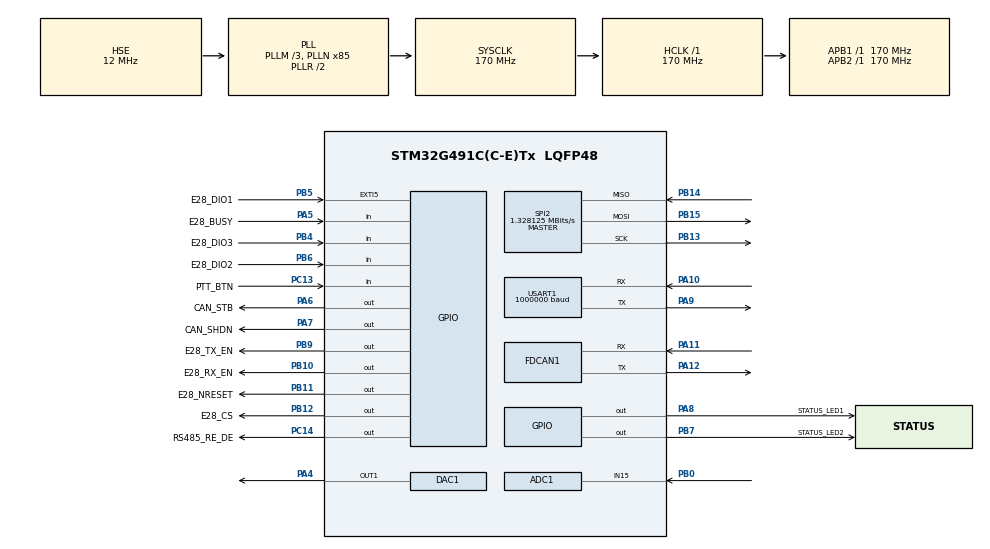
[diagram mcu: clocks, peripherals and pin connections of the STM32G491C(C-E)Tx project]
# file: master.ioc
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ADC1.Channel-2\#ChannelRegularConversion=ADC_CHANNEL_15
ADC1.ContinuousConvMode=DISABLE
ADC1.DMAContinuousRequests=ENABLE
ADC1.ExternalTrigConv=ADC_EXTERNALTRIG_T6_TRGO
ADC1.NbrOfConversionFlag=1
ADC1.OffsetNumber-2\#ChannelRegularConversion=ADC_OFFSET_NONE
ADC1.Overrun=ADC_OVR_DATA_OVERWRITTEN
ADC1.Rank-2\#ChannelRegularConversion=1
ADC1.SamplingTime-2\#ChannelRegularConversion=ADC_SAMPLETIME_247CYCLES_5
ADC1.master=1
DAC1.DAC_Trigger_OUT1-DAC_OUT1=DAC_TRIGGER_T6_TRGO
Dma.ADC1.0.Direction=DMA_PERIPH_TO_MEMORY
Dma.ADC1.0.EventEnable=DISABLE
Dma.ADC1.0.Instance=DMA1_Channel1
Dma.ADC1.0.MemDataAlignment=DMA_MDATAALIGN_HALFWORD
Dma.ADC1.0.MemInc=DMA_MINC_ENABLE
Dma.ADC1.0.Mode=DMA_CIRCULAR
Dma.ADC1.0.PeriphDataAlignment=DMA_PDATAALIGN_HALFWORD
Dma.ADC1.0.PeriphInc=DMA_PINC_DISABLE
Dma.ADC1.0.Polarity=HAL_DMAMUX_REQ_GEN_RISING
Dma.ADC1.0.Priority=DMA_PRIORITY_LOW
Dma.ADC1.0.RequestNumber=1
Dma.ADC1.0.SignalID=NONE
Dma.ADC1.0.SyncEnable=DISABLE
Dma.ADC1.0.SyncPolarity=HAL_DMAMUX_SYNC_NO_EVENT
Dma.ADC1.0.SyncRequestNumber=1
Dma.ADC1.0.SyncSignalID=NONE
Dma.DAC1_CH1.1.Direction=DMA_MEMORY_TO_PERIPH
Dma.DAC1_CH1.1.EventEnable=DISABLE
Dma.DAC1_CH1.1.Instance=DMA1_Channel2
Dma.DAC1_CH1.1.MemDataAlignment=DMA_MDATAALIGN_HALFWORD
Dma.DAC1_CH1.1.MemInc=DMA_MINC_ENABLE
Dma.DAC1_CH1.1.Mode=DMA_CIRCULAR
Dma.DAC1_CH1.1.PeriphDataAlignment=DMA_PDATAALIGN_WORD
Dma.DAC1_CH1.1.PeriphInc=DMA_PINC_DISABLE
Dma.DAC1_CH1.1.Polarity=HAL_DMAMUX_REQ_GEN_RISING
Dma.DAC1_CH1.1.Priority=DMA_PRIORITY_LOW
Dma.DAC1_CH1.1.RequestNumber=1
Dma.DAC1_CH1.1.SignalID=NONE
Dma.DAC1_CH1.1.SyncEnable=DISABLE
Dma.DAC1_CH1.1.SyncPolarity=HAL_DMAMUX_SYNC_NO_EVENT
Dma.DAC1_CH1.1.SyncRequestNumber=1
Dma.DAC1_CH1.1.SyncSignalID=NONE
Dma.Request0=ADC1
Dma.Request1=DAC1_CH1
Dma.Request2=USART1_RX
Dma.USART1_RX.2.Direction=DMA_PERIPH_TO_MEMORY
Dma.USART1_RX.2.EventEnable=DISABLE
Dma.USART1_RX.2.Instance=DMA1_Channel3
Dma.USART1_RX.2.MemDataAlignment=DMA_MDATAALIGN_BYTE
Dma.USART1_RX.2.MemInc=DMA_MINC_ENABLE
Dma.USART1_RX.2.Mode=DMA_CIRCULAR
Dma.USART1_RX.2.PeriphDataAlignment=DMA_PDATAALIGN_BYTE
Dma.USART1_RX.2.PeriphInc=DMA_PINC_DISABLE
Dma.USART1_RX.2.Polarity=HAL_DMAMUX_REQ_GEN_RISING
Dma.USART1_RX.2.Priority=DMA_PRIORITY_LOW
Dma.USART1_RX.2.RequestNumber=1
Dma.USART1_RX.2.SignalID=NONE
Dma.USART1_RX.2.SyncEnable=DISABLE
Dma.USART1_RX.2.SyncPolarity=HAL_DMAMUX_SYNC_NO_EVENT
Dma.USART1_RX.2.SyncRequestNumber=1
Dma.USART1_RX.2.SyncSignalID=NONE
FDCAN1.CalculateBaudRateNominal=999999
FDCAN1.CalculateTimeBitNominal=1000
FDCAN1.CalculateTimeQuantumNominal=58.82352941176471
FDCAN1.NominalPrescaler=10
FDCAN1.NominalSyncJumpWidth=3
FDCAN1.NominalTimeSeg1=13
FDCAN1.NominalTimeSeg2=3
FREERTOS.Tasks01=defaultTask,24,512,StartDefaultTask,Default,NULL,Dynamic,NULL,NULL;myTask02,8,512,StartTask02,Default,NULL,Dynamic,NULL,NULL
FREERTOS.configCHECK_FOR_STACK_OVERFLOW=2
FREERTOS.configTOTAL_HEAP_SIZE=32768
FREERTOS.configUSE_MALLOC_FAILED_HOOK=1
FREERTOS.configUSE_NEWLIB_REENTRANT=1
Mcu.Family=STM32G4
Mcu.Name=STM32G491C(C-E)Tx
Mcu.Package=LQFP48
NVIC.ADC1_2_IRQn=true\:5\:0\:false\:false\:true\:true\:true\:true\:true
NVIC.DMA1_Channel1_IRQn=true\:5\:0\:false\:false\:true\:true\:false\:true\:true
NVIC.DMA1_Channel2_IRQn=true\:5\:0\:false\:false\:true\:true\:false\:true\:true
NVIC.DMA1_Channel3_IRQn=true\:5\:0\:false\:false\:true\:true\:false\:true\:true
NVIC.EXTI9_5_IRQn=true\:5\:0\:true\:false\:true\:true\:true\:true\:true
NVIC.FDCAN1_IT0_IRQn=true\:5\:0\:false\:false\:true\:true\:true\:true\:true
NVIC.PriorityGroup=NVIC_PRIORITYGROUP_4
NVIC.TIM6_DAC_IRQn=true\:5\:0\:false\:false\:true\:true\:true\:true\:true
NVIC.TIM7_IRQn=true\:15\:0\:false\:false\:true\:false\:false\:true\:true
NVIC.TimeBase=TIM7_IRQn
NVIC.TimeBaseIP=TIM7
NVIC.USART1_IRQn=true\:5\:0\:false\:false\:true\:true\:true\:true\:true
PA10.Mode=Asynchronous
PA10.Signal=USART1_RX
PA11.Mode=FDCAN_Activate
PA11.Signal=FDCAN1_RX
PA12.Mode=FDCAN_Activate
PA12.Signal=FDCAN1_TX
PA13.Mode=Serial_Wire
PA13.Signal=SYS_JTMS-SWDIO
PA14.Mode=Serial_Wire
PA14.Signal=SYS_JTCK-SWCLK
PA4.Signal=COMP_DAC11_group
PA5.GPIO_Label=E28_BUSY
PA5.Signal=GPIO_Input
PA6.GPIO_Label=CAN_STB
PA6.Signal=GPIO_Output
PA7.GPIO_Label=CAN_SHDN
PA7.Signal=GPIO_Output
PA8.GPIO_Label=STATUS_LED1
PA8.Signal=GPIO_Output
PA9.Mode=Asynchronous
PA9.Signal=USART1_TX
PB0.Mode=IN15-Single-Ended
PB0.Signal=ADC1_IN15
PB10.GPIO_Label=E28_RX_EN
PB10.Signal=GPIO_Output
PB11.GPIO_Label=E28_NRESET
PB11.Signal=GPIO_Output
PB12.GPIO_Label=E28_CS
PB12.PinState=GPIO_PIN_SET
PB12.Signal=GPIO_Output
PB13.Mode=Full_Duplex_Master
PB13.Signal=SPI2_SCK
PB14.Mode=Full_Duplex_Master
PB14.Signal=SPI2_MISO
PB15.Mode=Full_Duplex_Master
PB15.Signal=SPI2_MOSI
PB4.GPIO_Label=E28_DIO3
PB4.Signal=GPIO_Input
PB5.GPIO_Label=E28_DIO1
PB5.GPIO_ModeDefaultEXTI=GPIO_MODE_IT_RISING
PB5.GPIO_PuPd=GPIO_PULLDOWN
PB5.Signal=GPXTI5
PB6.GPIO_Label=E28_DIO2
PB6.Signal=GPIO_Input
PB7.GPIO_Label=STATUS_LED2
PB7.Signal=GPIO_Output
PB9.GPIO_Label=E28_TX_EN
PB9.Signal=GPIO_Output
PC13.GPIO_Label=PTT_BTN
PC13.GPIO_PuPd=GPIO_PULLUP
PC13.Signal=GPIO_Input
PC14-OSC32_IN.GPIO_Label=RS485_RE_DE
PC14-OSC32_IN.Signal=GPIO_Output
PF0-OSC_IN.Mode=HSE-External-Oscillator
PF0-OSC_IN.Signal=RCC_OSC_IN
PF1-OSC_OUT.Mode=HSE-External-Oscillator
PF1-OSC_OUT.Signal=RCC_OSC_OUT
ProjectManager.HeapSize=0x200
ProjectManager.StackSize=0x400
ProjectManager.TargetToolchain=CMake
RCC.ADC12Freq_Value=170000000
RCC.ADC345Freq_Value=170000000
RCC.AHBFreq_Value=170000000
RCC.APB1Freq_Value=170000000
RCC.APB1TimFreq_Value=170000000
RCC.APB2Freq_Value=170000000
RCC.APB2TimFreq_Value=170000000
RCC.CortexFreq_Value=170000000
RCC.EXTERNAL_CLOCK_VALUE=12288000
RCC.EnbaleCSS=true
RCC.HCLKFreq_Value=170000000
RCC.HSE_VALUE=12000000
RCC.HSI48_VALUE=48000000
RCC.HSI_VALUE=16000000
RCC.LSE_VALUE=32768
RCC.PLLM=RCC_PLLM_DIV3
RCC.PLLN=85
RCC.PLLSourceVirtual=RCC_PLLSOURCE_HSE
RCC.SYSCLKFreq_VALUE=170000000
RCC.SYSCLKSource=RCC_SYSCLKSOURCE_PLLCLK
RCC.VCOOutputFreq_Value=340000000
SH.COMP_DAC11_group.0=DAC1_OUT1,DAC_OUT1
SPI2.BaudRatePrescaler=SPI_BAUDRATEPRESCALER_128
SPI2.CalculateBaudRate=1.328125 MBits/s
SPI2.DataSize=SPI_DATASIZE_8BIT
SPI2.Direction=SPI_DIRECTION_2LINES
SPI2.Mode=SPI_MODE_MASTER
SPI2.VirtualType=VM_MASTER
TIM6.PeriodNoDither=10624
TIM6.TIM_MasterOutputTrigger=TIM_TRGO_UPDATE
USART1.BaudRate=1000000
USART1.SwapParam=ADVFEATURE_SWAP_ENABLE
USART1.VirtualMode-Asynchronous=VM_ASYNC
VP_FREERTOS_VS_CMSIS_V2.Mode=CMSIS_V2
VP_SYS_VS_DBSignals.Mode=DisableDeadBatterySignals
VP_SYS_VS_tim7.Mode=TIM7
VP_TIM6_VS_ClockSourceINT.Mode=Enable_Timer
board=custom

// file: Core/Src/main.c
/* USER CODE BEGIN Header */
/**
  ******************************************************************************
  * @file           : main.c
  * @brief          : Main program body
  ******************************************************************************
  * @attention
  *
  * Copyright (c) 2026 STMicroelectronics.
  * All rights reserved.
  *
  * This software is licensed under terms that can be found in the LICENSE file
  * in the root directory of this software component.
  * If no LICENSE file comes with this software, it is provided AS-IS.
  *
  ******************************************************************************
  */
/* USER CODE END Header */
#include "main.h"
#include "cmsis_os.h"

/* USER CODE BEGIN Includes */
#include "audio.h"
#include "e28.h"
#include "ptt.h"
#include "rs485.h"
#include "can_bus.h"
#include "safety.h"
#include "stats.h"
/* USER CODE END Includes */

ADC_HandleTypeDef hadc1;
DMA_HandleTypeDef hdma_adc1;

DAC_HandleTypeDef hdac1;
DMA_HandleTypeDef hdma_dac1_ch1;

FDCAN_HandleTypeDef hfdcan1;

SPI_HandleTypeDef hspi2;

TIM_HandleTypeDef htim6;

UART_HandleTypeDef huart1;
DMA_HandleTypeDef hdma_usart1_rx;

/* Definitions for defaultTask */
osThreadId_t defaultTaskHandle;
const osThreadAttr_t defaultTask_attributes = {
  .name = "defaultTask",
  .priority = (osPriority_t) osPriorityNormal,
  .stack_size = 512 * 4
};
/* Definitions for myTask02 */
osThreadId_t myTask02Handle;
const osThreadAttr_t myTask02_attributes = {
  .name = "myTask02",
  .priority = (osPriority_t) osPriorityLow,
  .stack_size = 512 * 4
};
/* USER CODE BEGIN PV */
volatile uint32_t reset_csr      = 0;
volatile uint8_t  rst_pin        = 0;   /* NRST pin pulled low       */
volatile uint8_t  rst_brownout   = 0;   /* supply dipped below BOR   */
volatile uint8_t  rst_software   = 0;   /* NVIC_SystemReset() called */
volatile uint8_t  rst_iwdg       = 0;   /* independent watchdog      */
volatile uint8_t  rst_wwdg       = 0;   /* window watchdog           */
volatile uint8_t  rst_lowpower   = 0;   /* illegal low-power entry   */
/* USER CODE END PV */

void SystemClock_Config(void);
static void MX_GPIO_Init(void);
static void MX_DMA_Init(void);
static void MX_ADC1_Init(void);
static void MX_DAC1_Init(void);
static void MX_TIM6_Init(void);
static void MX_SPI2_Init(void);
static void MX_USART1_UART_Init(void);
static void MX_FDCAN1_Init(void);
void StartDefaultTask(void *argument);
void StartTask02(void *argument);

int main(void)
{

  /* USER CODE BEGIN 1 */
	/* Latch why we last reset, before anything clears the flags. */
	  reset_csr    = RCC->CSR;
	  rst_pin      = (reset_csr & RCC_CSR_PINRSTF)  ? 1U : 0U;
	  rst_brownout = (reset_csr & RCC_CSR_BORRSTF)  ? 1U : 0U;
	  rst_software = (reset_csr & RCC_CSR_SFTRSTF)  ? 1U : 0U;
	  rst_iwdg     = (reset_csr & RCC_CSR_IWDGRSTF) ? 1U : 0U;
	  rst_wwdg     = (reset_csr & RCC_CSR_WWDGRSTF) ? 1U : 0U;
	  rst_lowpower = (reset_csr & RCC_CSR_LPWRRSTF) ? 1U : 0U;
	  __HAL_RCC_CLEAR_RESET_FLAGS();
  /* USER CODE END 1 */

  /* MCU Configuration--------------------------------------------------------*/

  /* Reset of all peripherals, Initializes the Flash interface and the Systick. */
  HAL_Init();

  /* Configure the system clock */
  SystemClock_Config();

  /* Initialize all configured peripherals */
  MX_GPIO_Init();
  MX_DMA_Init();
  MX_ADC1_Init();
  MX_DAC1_Init();
  MX_TIM6_Init();
  MX_SPI2_Init();
  MX_USART1_UART_Init();
  MX_FDCAN1_Init();
  /* USER CODE BEGIN 2 */
  /* Audio peripherals are armed by the audio task itself, so the DMA
     streams start only once the scheduler is running. */
  /* USER CODE END 2 */

  /* Init scheduler */
  osKernelInitialize();

  /* Create the thread(s) */
  /* creation of defaultTask */
  defaultTaskHandle = osThreadNew(StartDefaultTask, NULL, &defaultTask_attributes);

  /* creation of myTask02 */
  myTask02Handle = osThreadNew(StartTask02, NULL, &myTask02_attributes);

  /* USER CODE BEGIN RTOS_THREADS */
  /* First: starts the cycle counter every other module's timing relies on,
     and sends the boot-time schema before anything else can fail. */
  Stats_Init();
  Audio_Init();
  E28_Init();
  RS485_Init();
  CanBus_Init();
  /* USER CODE END RTOS_THREADS */

  /* Start scheduler */
  osKernelStart();

  /* We should never get here as control is now taken by the scheduler */

  /* Infinite loop */
  while (1)
  {

    /* USER CODE BEGIN 3 */
    /* Unreachable: osKernelStart() above never returns.
       All application logic now lives in the task functions. */
  }
  /* USER CODE END 3 */
}

void SystemClock_Config(void)
{
  RCC_OscInitTypeDef RCC_OscInitStruct = {0};
  RCC_ClkInitTypeDef RCC_ClkInitStruct = {0};

  /** Configure the main internal regulator output voltage
  */
  HAL_PWREx_ControlVoltageScaling(PWR_REGULATOR_VOLTAGE_SCALE1_BOOST);

  /** Initializes the RCC Oscillators according to the specified parameters
  * in the RCC_OscInitTypeDef structure.
  */
  RCC_OscInitStruct.OscillatorType = RCC_OSCILLATORTYPE_HSE;
  RCC_OscInitStruct.HSEState = RCC_HSE_ON;
  RCC_OscInitStruct.PLL.PLLState = RCC_PLL_ON;
  RCC_OscInitStruct.PLL.PLLSource = RCC_PLLSOURCE_HSE;
  RCC_OscInitStruct.PLL.PLLM = RCC_PLLM_DIV3;
  RCC_OscInitStruct.PLL.PLLN = 85;
  RCC_OscInitStruct.PLL.PLLP = RCC_PLLP_DIV2;
  RCC_OscInitStruct.PLL.PLLQ = RCC_PLLQ_DIV2;
  RCC_OscInitStruct.PLL.PLLR = RCC_PLLR_DIV2;
  if (HAL_RCC_OscConfig(&RCC_OscInitStruct) != HAL_OK)
  {
    Error_Handler();
  }

  /** Initializes the CPU, AHB and APB buses clocks
  */
  RCC_ClkInitStruct.ClockType = RCC_CLOCKTYPE_HCLK|RCC_CLOCKTYPE_SYSCLK
                              |RCC_CLOCKTYPE_PCLK1|RCC_CLOCKTYPE_PCLK2;
  RCC_ClkInitStruct.SYSCLKSource = RCC_SYSCLKSOURCE_PLLCLK;
  RCC_ClkInitStruct.AHBCLKDivider = RCC_SYSCLK_DIV1;
  RCC_ClkInitStruct.APB1CLKDivider = RCC_HCLK_DIV1;
  RCC_ClkInitStruct.APB2CLKDivider = RCC_HCLK_DIV1;

  if (HAL_RCC_ClockConfig(&RCC_ClkInitStruct, FLASH_LATENCY_4) != HAL_OK)
  {
    Error_Handler();
  }

  /** Enables the Clock Security System
  */
  HAL_RCC_EnableCSS();
}

static void MX_ADC1_Init(void)
{

  ADC_MultiModeTypeDef multimode = {0};
  ADC_ChannelConfTypeDef sConfig = {0};

  /** Common config
  */
  hadc1.Instance = ADC1;
  hadc1.Init.ClockPrescaler = ADC_CLOCK_SYNC_PCLK_DIV4;
  hadc1.Init.Resolution = ADC_RESOLUTION_12B;
  hadc1.Init.DataAlign = ADC_DATAALIGN_RIGHT;
  hadc1.Init.GainCompensation = 0;
  hadc1.Init.ScanConvMode = ADC_SCAN_DISABLE;
  hadc1.Init.EOCSelection = ADC_EOC_SINGLE_CONV;
  hadc1.Init.LowPowerAutoWait = DISABLE;
  hadc1.Init.ContinuousConvMode = DISABLE;
  hadc1.Init.NbrOfConversion = 1;
  hadc1.Init.DiscontinuousConvMode = DISABLE;
  hadc1.Init.ExternalTrigConv = ADC_EXTERNALTRIG_T6_TRGO;
  hadc1.Init.ExternalTrigConvEdge = ADC_EXTERNALTRIGCONVEDGE_RISING;
  hadc1.Init.DMAContinuousRequests = ENABLE;
  hadc1.Init.Overrun = ADC_OVR_DATA_OVERWRITTEN;
  hadc1.Init.OversamplingMode = DISABLE;
  if (HAL_ADC_Init(&hadc1) != HAL_OK)
  {
    Error_Handler();
  }

  /** Configure the ADC multi-mode
  */
  multimode.Mode = ADC_MODE_INDEPENDENT;
  if (HAL_ADCEx_MultiModeConfigChannel(&hadc1, &multimode) != HAL_OK)
  {
    Error_Handler();
  }

  /** Configure Regular Channel
  */
  sConfig.Channel = ADC_CHANNEL_15;
  sConfig.Rank = ADC_REGULAR_RANK_1;
  sConfig.SamplingTime = ADC_SAMPLETIME_247CYCLES_5;
  sConfig.SingleDiff = ADC_SINGLE_ENDED;
  sConfig.OffsetNumber = ADC_OFFSET_NONE;
  sConfig.Offset = 0;
  if (HAL_ADC_ConfigChannel(&hadc1, &sConfig) != HAL_OK)
  {
    Error_Handler();
  }

}

static void MX_DAC1_Init(void)
{

  DAC_ChannelConfTypeDef sConfig = {0};

  /** DAC Initialization
  */
  hdac1.Instance = DAC1;
  if (HAL_DAC_Init(&hdac1) != HAL_OK)
  {
    Error_Handler();
  }

  /** DAC channel OUT1 config
  */
  sConfig.DAC_HighFrequency = DAC_HIGH_FREQUENCY_INTERFACE_MODE_AUTOMATIC;
  sConfig.DAC_DMADoubleDataMode = DISABLE;
  sConfig.DAC_SignedFormat = DISABLE;
  sConfig.DAC_SampleAndHold = DAC_SAMPLEANDHOLD_DISABLE;
  sConfig.DAC_Trigger = DAC_TRIGGER_T6_TRGO;
  sConfig.DAC_Trigger2 = DAC_TRIGGER_NONE;
  sConfig.DAC_OutputBuffer = DAC_OUTPUTBUFFER_ENABLE;
  sConfig.DAC_ConnectOnChipPeripheral = DAC_CHIPCONNECT_EXTERNAL;
  sConfig.DAC_UserTrimming = DAC_TRIMMING_FACTORY;
  if (HAL_DAC_ConfigChannel(&hdac1, &sConfig, DAC_CHANNEL_1) != HAL_OK)
  {
    Error_Handler();
  }

}

static void MX_FDCAN1_Init(void)
{

  hfdcan1.Instance = FDCAN1;
  hfdcan1.Init.ClockDivider = FDCAN_CLOCK_DIV1;
  hfdcan1.Init.FrameFormat = FDCAN_FRAME_CLASSIC;
  hfdcan1.Init.Mode = FDCAN_MODE_NORMAL;
  hfdcan1.Init.AutoRetransmission = DISABLE;
  hfdcan1.Init.TransmitPause = DISABLE;
  hfdcan1.Init.ProtocolException = DISABLE;
  hfdcan1.Init.NominalPrescaler = 10;
  hfdcan1.Init.NominalSyncJumpWidth = 3;
  hfdcan1.Init.NominalTimeSeg1 = 13;
  hfdcan1.Init.NominalTimeSeg2 = 3;
  hfdcan1.Init.DataPrescaler = 1;
  hfdcan1.Init.DataSyncJumpWidth = 1;
  hfdcan1.Init.DataTimeSeg1 = 1;
  hfdcan1.Init.DataTimeSeg2 = 1;
  hfdcan1.Init.StdFiltersNbr = 0;
  hfdcan1.Init.ExtFiltersNbr = 0;
  hfdcan1.Init.TxFifoQueueMode = FDCAN_TX_FIFO_OPERATION;
  if (HAL_FDCAN_Init(&hfdcan1) != HAL_OK)
  {
    Error_Handler();
  }

}

static void MX_SPI2_Init(void)
{

  /* SPI2 parameter configuration*/
  hspi2.Instance = SPI2;
  hspi2.Init.Mode = SPI_MODE_MASTER;
  hspi2.Init.Direction = SPI_DIRECTION_2LINES;
  hspi2.Init.DataSize = SPI_DATASIZE_8BIT;
  hspi2.Init.CLKPolarity = SPI_POLARITY_LOW;
  hspi2.Init.CLKPhase = SPI_PHASE_1EDGE;
  hspi2.Init.NSS = SPI_NSS_SOFT;
  hspi2.Init.BaudRatePrescaler = SPI_BAUDRATEPRESCALER_128;
  hspi2.Init.FirstBit = SPI_FIRSTBIT_MSB;
  hspi2.Init.TIMode = SPI_TIMODE_DISABLE;
  hspi2.Init.CRCCalculation = SPI_CRCCALCULATION_DISABLE;
  hspi2.Init.CRCPolynomial = 7;
  hspi2.Init.CRCLength = SPI_CRC_LENGTH_DATASIZE;
  hspi2.Init.NSSPMode = SPI_NSS_PULSE_ENABLE;
  if (HAL_SPI_Init(&hspi2) != HAL_OK)
  {
    Error_Handler();
  }

}

static void MX_TIM6_Init(void)
{

  TIM_MasterConfigTypeDef sMasterConfig = {0};

  htim6.Instance = TIM6;
  htim6.Init.Prescaler = 0;
  htim6.Init.CounterMode = TIM_COUNTERMODE_UP;
  htim6.Init.Period = 10624;
  htim6.Init.AutoReloadPreload = TIM_AUTORELOAD_PRELOAD_DISABLE;
  if (HAL_TIM_Base_Init(&htim6) != HAL_OK)
  {
    Error_Handler();
  }
  sMasterConfig.MasterOutputTrigger = TIM_TRGO_UPDATE;
  sMasterConfig.MasterSlaveMode = TIM_MASTERSLAVEMODE_DISABLE;
  if (HAL_TIMEx_MasterConfigSynchronization(&htim6, &sMasterConfig) != HAL_OK)
  {
    Error_Handler();
  }

}

static void MX_USART1_UART_Init(void)
{

  huart1.Instance = USART1;
  huart1.Init.BaudRate = 1000000;
  huart1.Init.WordLength = UART_WORDLENGTH_8B;
  huart1.Init.StopBits = UART_STOPBITS_1;
  huart1.Init.Parity = UART_PARITY_NONE;
  huart1.Init.Mode = UART_MODE_TX_RX;
  huart1.Init.HwFlowCtl = UART_HWCONTROL_NONE;
  huart1.Init.OverSampling = UART_OVERSAMPLING_16;
  huart1.Init.OneBitSampling = UART_ONE_BIT_SAMPLE_DISABLE;
  huart1.Init.ClockPrescaler = UART_PRESCALER_DIV1;
  huart1.AdvancedInit.AdvFeatureInit = UART_ADVFEATURE_SWAP_INIT;
  huart1.AdvancedInit.Swap = UART_ADVFEATURE_SWAP_ENABLE;
  if (HAL_UART_Init(&huart1) != HAL_OK)
  {
    Error_Handler();
  }
  if (HAL_UARTEx_SetTxFifoThreshold(&huart1, UART_TXFIFO_THRESHOLD_1_8) != HAL_OK)
  {
    Error_Handler();
  }
  if (HAL_UARTEx_SetRxFifoThreshold(&huart1, UART_RXFIFO_THRESHOLD_1_8) != HAL_OK)
  {
    Error_Handler();
  }
  if (HAL_UARTEx_DisableFifoMode(&huart1) != HAL_OK)
  {
    Error_Handler();
  }
  /* USER CODE BEGIN USART1_Init 2 */
#if RS485_BENCH_TEST
  /* Overrun detection off and DMA kept running through a receive error.
     With circular DMA the data register is always being drained, so overrun
     detection can only latch a fault that stops the link -- it protects
     against nothing here.

     No RX inversion: the bench source now drives both lines of the pair in
     antiphase, which produces the same polarity a real RS-485 driver does.
     The received signal is therefore an ordinary UART.

     Baud: the bench source is a bit-banged transmitter on the Nucleo, which
     cannot run at the real link's 1 Mbaud -- measured, every byte failed with
     a noise error while the idle line between frames stayed clean. It runs
     at RS485_BENCH_BAUD instead, and this end follows. The car build keeps
     CubeMX's 1 Mbaud, untouched. */
  huart1.Init.BaudRate                    = RS485_BENCH_BAUD;
  huart1.AdvancedInit.AdvFeatureInit      = UART_ADVFEATURE_RXOVERRUNDISABLE_INIT
                                          | UART_ADVFEATURE_DMADISABLEONERROR_INIT;
  huart1.AdvancedInit.OverrunDisable      = UART_ADVFEATURE_OVERRUN_DISABLE;
  huart1.AdvancedInit.DMADisableonRxError = UART_ADVFEATURE_DMA_ENABLEONRXERROR;

  if (HAL_UART_Init(&huart1) != HAL_OK)
  {
    Error_Handler();
  }
#endif
  /* USER CODE END USART1_Init 2 */

}

static void MX_DMA_Init(void)
{

  /* DMA controller clock enable */
  __HAL_RCC_DMAMUX1_CLK_ENABLE();
  __HAL_RCC_DMA1_CLK_ENABLE();

  /* DMA interrupt init */
  /* DMA1_Channel1_IRQn interrupt configuration */
  HAL_NVIC_SetPriority(DMA1_Channel1_IRQn, 5, 0);
  HAL_NVIC_EnableIRQ(DMA1_Channel1_IRQn);
  /* DMA1_Channel2_IRQn interrupt configuration */
  HAL_NVIC_SetPriority(DMA1_Channel2_IRQn, 5, 0);
  HAL_NVIC_EnableIRQ(DMA1_Channel2_IRQn);
  /* DMA1_Channel3_IRQn interrupt configuration */
  HAL_NVIC_SetPriority(DMA1_Channel3_IRQn, 5, 0);
  HAL_NVIC_EnableIRQ(DMA1_Channel3_IRQn);

}

static void MX_GPIO_Init(void)
{
  GPIO_InitTypeDef GPIO_InitStruct = {0};

  /* GPIO Ports Clock Enable */
  __HAL_RCC_GPIOC_CLK_ENABLE();
  __HAL_RCC_GPIOF_CLK_ENABLE();
  __HAL_RCC_GPIOA_CLK_ENABLE();
  __HAL_RCC_GPIOB_CLK_ENABLE();

  /*Configure GPIO pin Output Level */
  HAL_GPIO_WritePin(RS485_RE_DE_GPIO_Port, RS485_RE_DE_Pin, GPIO_PIN_RESET);

  /*Configure GPIO pin Output Level */
  HAL_GPIO_WritePin(GPIOA, CAN_STB_Pin|CAN_SHDN_Pin|STATUS_LED1_Pin, GPIO_PIN_RESET);

  /*Configure GPIO pin Output Level */
  HAL_GPIO_WritePin(GPIOB, E28_RX_EN_Pin|E28_NRESET_Pin|STATUS_LED2_Pin|E28_TX_EN_Pin, GPIO_PIN_RESET);

  /*Configure GPIO pin Output Level */
  HAL_GPIO_WritePin(E28_CS_GPIO_Port, E28_CS_Pin, GPIO_PIN_SET);

  /*Configure GPIO pin : PTT_BTN_Pin */
  GPIO_InitStruct.Pin = PTT_BTN_Pin;
  GPIO_InitStruct.Mode = GPIO_MODE_INPUT;
  GPIO_InitStruct.Pull = GPIO_PULLUP;
  HAL_GPIO_Init(PTT_BTN_GPIO_Port, &GPIO_InitStruct);

  /*Configure GPIO pin : RS485_RE_DE_Pin */
  GPIO_InitStruct.Pin = RS485_RE_DE_Pin;
  GPIO_InitStruct.Mode = GPIO_MODE_OUTPUT_PP;
  GPIO_InitStruct.Pull = GPIO_NOPULL;
  GPIO_InitStruct.Speed = GPIO_SPEED_FREQ_LOW;
  HAL_GPIO_Init(RS485_RE_DE_GPIO_Port, &GPIO_InitStruct);

  /*Configure GPIO pin : E28_BUSY_Pin */
  GPIO_InitStruct.Pin = E28_BUSY_Pin;
  GPIO_InitStruct.Mode = GPIO_MODE_INPUT;
  GPIO_InitStruct.Pull = GPIO_NOPULL;
  HAL_GPIO_Init(E28_BUSY_GPIO_Port, &GPIO_InitStruct);

  /*Configure GPIO pins : CAN_STB_Pin CAN_SHDN_Pin STATUS_LED1_Pin */
  GPIO_InitStruct.Pin = CAN_STB_Pin|CAN_SHDN_Pin|STATUS_LED1_Pin;
  GPIO_InitStruct.Mode = GPIO_MODE_OUTPUT_PP;
  GPIO_InitStruct.Pull = GPIO_NOPULL;
  GPIO_InitStruct.Speed = GPIO_SPEED_FREQ_LOW;
  HAL_GPIO_Init(GPIOA, &GPIO_InitStruct);

  /*Configure GPIO pins : E28_RX_EN_Pin E28_NRESET_Pin E28_CS_Pin STATUS_LED2_Pin
                           E28_TX_EN_Pin */
  GPIO_InitStruct.Pin = E28_RX_EN_Pin|E28_NRESET_Pin|E28_CS_Pin|STATUS_LED2_Pin
                          |E28_TX_EN_Pin;
  GPIO_InitStruct.Mode = GPIO_MODE_OUTPUT_PP;
  GPIO_InitStruct.Pull = GPIO_NOPULL;
  GPIO_InitStruct.Speed = GPIO_SPEED_FREQ_LOW;
  HAL_GPIO_Init(GPIOB, &GPIO_InitStruct);

  /*Configure GPIO pins : E28_DIO3_Pin E28_DIO2_Pin */
  GPIO_InitStruct.Pin = E28_DIO3_Pin|E28_DIO2_Pin;
  GPIO_InitStruct.Mode = GPIO_MODE_INPUT;
  GPIO_InitStruct.Pull = GPIO_NOPULL;
  HAL_GPIO_Init(GPIOB, &GPIO_InitStruct);

  /*Configure GPIO pin : E28_DIO1_Pin */
  GPIO_InitStruct.Pin = E28_DIO1_Pin;
  GPIO_InitStruct.Mode = GPIO_MODE_IT_RISING;
  GPIO_InitStruct.Pull = GPIO_PULLDOWN;
  HAL_GPIO_Init(E28_DIO1_GPIO_Port, &GPIO_InitStruct);

  /* EXTI interrupt init*/
  HAL_NVIC_SetPriority(EXTI9_5_IRQn, 5, 0);
  HAL_NVIC_EnableIRQ(EXTI9_5_IRQn);

}

void StartDefaultTask(void *argument)
{
  /* USER CODE BEGIN 5 */
	for(;;)
	  {
	    CanBus_Poll();
	    Ptt_SetCanAuthority(CanBus_IsLinkAlive());

	    /* LED1: solid = VCU is talking to us over CAN, off = bench mode and the
	       board button is in charge. More informative than a heartbeat, and it
	       makes a dead harness obvious at a glance. */
	    HAL_GPIO_WritePin(STATUS_LED1_GPIO_Port, STATUS_LED1_Pin,
	                      CanBus_IsLinkAlive() ? GPIO_PIN_SET : GPIO_PIN_RESET);
	    osDelay(20);
	  }
  /* USER CODE END 5 */
}

void StartTask02(void *argument)
{
  /* USER CODE BEGIN StartTask02 */
	Ptt_Init();

	  for(;;)
	  {
	    Ptt_Poll();

	    /* LED2 now shows mic state rather than button state -- during the
	       hangover the radio is still transmitting, but the driver has already
	       let go, and the light should agree with the driver. */
	    HAL_GPIO_WritePin(STATUS_LED2_GPIO_Port, STATUS_LED2_Pin,
	                      Ptt_IsOpen() ? GPIO_PIN_SET : GPIO_PIN_RESET);
	    osDelay(20);
	  }
  /* USER CODE END StartTask02 */
}

void HAL_TIM_PeriodElapsedCallback(TIM_HandleTypeDef *htim)
{
  if (htim->Instance == TIM7)
  {
    HAL_IncTick();
  }
}

void Error_Handler(void)
{
  /* USER CODE BEGIN Error_Handler_Debug */
  /* Called by CubeMX init code when a HAL call fails. Used to spin silently;
     now it shuts the radio down and latches the call site -- the return
     address of this function -- so addr2line can say which init failed. */
  Safety_ErrorHandler(__builtin_return_address(0));
  /* USER CODE END Error_Handler_Debug */
}

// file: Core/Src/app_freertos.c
/* USER CODE BEGIN Header */
/**
  ******************************************************************************
  * File Name          : app_freertos.c
  * Description        : Code for freertos applications
  ******************************************************************************
  * @attention
  *
  * Copyright (c) 2026 STMicroelectronics.
  * All rights reserved.
  *
  * This software is licensed under terms that can be found in the LICENSE file
  * in the root directory of this software component.
  * If no LICENSE file comes with this software, it is provided AS-IS.
  *
  ******************************************************************************
  */
/* USER CODE END Header */

#include "FreeRTOS.h"
#include "task.h"
#include "main.h"

/* USER CODE BEGIN Includes */
#include "safety.h"
/* USER CODE END Includes */

/* Hook prototypes */
void vApplicationStackOverflowHook(xTaskHandle xTask, signed char *pcTaskName);
void vApplicationMallocFailedHook(void);

/* USER CODE BEGIN 4 */
void vApplicationStackOverflowHook(xTaskHandle xTask, signed char *pcTaskName)
{
  /* Called by the kernel when a task overruns its stack. configCHECK_FOR_
     STACK_OVERFLOW is 2, so the check is both a bounds test on the stack
     pointer and a pattern check on the far end of the stack.

     Returning from here resumes a task whose locals are already corrupt, so
     we do not: Safety_Fault latches the task name and stops the board. */
  (void)xTask;
  Safety_Fault(SAFETY_FAULT_STACK_OVERFLOW, (const char *)pcTaskName);
}
/* USER CODE END 4 */

/* USER CODE BEGIN 5 */
void vApplicationMallocFailedHook(void)
{
  /* pvPortMalloc returned NULL. Every allocation on this board happens during
     start-up -- tasks, queues and semaphores -- so in practice this means
     configTOTAL_HEAP_SIZE is too small for the current task stacks, which is
     exactly the failure mode to expect while sizing a codec's scratch needs.

     Named "heap" rather than a task name because the caller may be the kernel
     itself, before any task exists to name. */
  Safety_Fault(SAFETY_FAULT_MALLOC_FAILED, "heap");
}
/* USER CODE END 5 */
